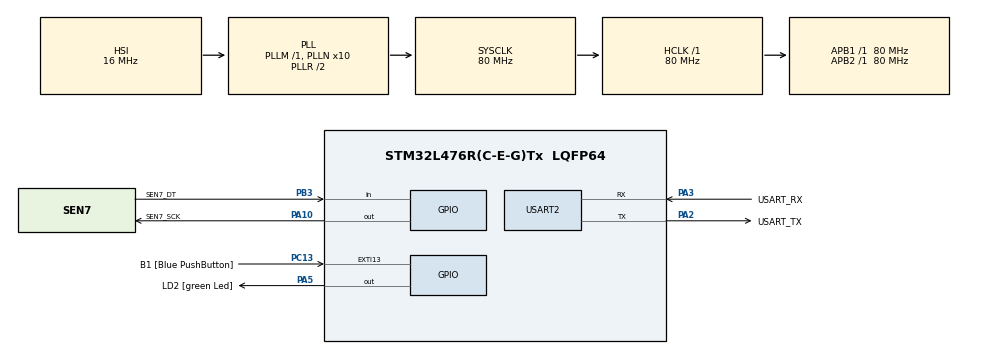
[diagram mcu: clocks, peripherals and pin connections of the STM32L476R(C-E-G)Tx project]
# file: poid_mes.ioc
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Mcu.Family=STM32L4
Mcu.Name=STM32L476R(C-E-G)Tx
Mcu.Package=LQFP64
NVIC.PriorityGroup=NVIC_PRIORITYGROUP_4
PA10.GPIO_Label=SEN7_SCK
PA10.Signal=GPIO_Output
PA13\ (JTMS-SWDIO).GPIO_Label=TMS
PA13\ (JTMS-SWDIO).Mode=Serial_Wire
PA13\ (JTMS-SWDIO).Signal=SYS_JTMS-SWDIO
PA14\ (JTCK-SWCLK).GPIO_Label=TCK
PA14\ (JTCK-SWCLK).Mode=Serial_Wire
PA14\ (JTCK-SWCLK).Signal=SYS_JTCK-SWCLK
PA2.GPIO_Label=USART_TX
PA2.GPIO_Mode=GPIO_MODE_AF_PP
PA2.GPIO_PuPd=GPIO_NOPULL
PA2.GPIO_Speed=GPIO_SPEED_FREQ_VERY_HIGH
PA2.Mode=Asynchronous
PA2.Signal=USART2_TX
PA3.GPIO_Label=USART_RX
PA3.GPIO_Mode=GPIO_MODE_AF_PP
PA3.GPIO_PuPd=GPIO_NOPULL
PA3.GPIO_Speed=GPIO_SPEED_FREQ_VERY_HIGH
PA3.Mode=Asynchronous
PA3.Signal=USART2_RX
PA5.GPIO_Label=LD2 [green Led]
PA5.GPIO_ModeDefaultOutputPP=GPIO_MODE_OUTPUT_PP
PA5.GPIO_PuPd=GPIO_NOPULL
PA5.GPIO_Speed=GPIO_SPEED_FREQ_LOW
PA5.Signal=GPIO_Output
PB3\ (JTDO-TRACESWO).GPIO_Label=SEN7_DT
PB3\ (JTDO-TRACESWO).Signal=GPIO_Input
PC13.GPIO_Label=B1 [Blue PushButton]
PC13.GPIO_ModeDefaultEXTI=GPIO_MODE_IT_FALLING
PC13.GPIO_PuPd=GPIO_NOPULL
PC13.Signal=GPXTI13
PC14-OSC32_IN\ (PC14).Mode=LSE-External-Oscillator
PC14-OSC32_IN\ (PC14).Signal=RCC_OSC32_IN
PC15-OSC32_OUT\ (PC15).Mode=LSE-External-Oscillator
PC15-OSC32_OUT\ (PC15).Signal=RCC_OSC32_OUT
PH0-OSC_IN\ (PH0).Signal=RCC_OSC_IN
PH1-OSC_OUT\ (PH1).Signal=RCC_OSC_OUT
ProjectManager.HeapSize=0x200
ProjectManager.StackSize=0x400
ProjectManager.TargetToolchain=STM32CubeIDE
RCC.ADCFreq_Value=64000000
RCC.AHBFreq_Value=80000000
RCC.APB1Freq_Value=80000000
RCC.APB1TimFreq_Value=80000000
RCC.APB2Freq_Value=80000000
RCC.APB2TimFreq_Value=80000000
RCC.CortexFreq_Value=80000000
RCC.HCLKFreq_Value=80000000
RCC.HSE_VALUE=8000000
RCC.HSI_VALUE=16000000
RCC.MSI_VALUE=4000000
RCC.PLLN=10
RCC.PLLSourceVirtual=RCC_PLLSOURCE_HSI
RCC.PREFETCH_ENABLE=1
RCC.SYSCLKFreq_VALUE=80000000
RCC.SYSCLKSource=RCC_SYSCLKSOURCE_PLLCLK
RCC.USBFreq_Value=64000000
RCC.VCOOutputFreq_Value=160000000
TIM1.Prescaler=80-1
USART2.VirtualMode-Asynchronous=VM_ASYNC
VP_TIM1_VS_ClockSourceINT.Mode=Internal
board=NUCLEO-L476RG

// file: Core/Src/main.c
/* USER CODE BEGIN Header */
/**
  ******************************************************************************
  * @file           : main.c
  * @brief          : Main program body
  ******************************************************************************
  * @attention
  *
  * Copyright (c) 2024 STMicroelectronics.
  * All rights reserved.
  *
  * This software is licensed under terms that can be found in the LICENSE file
  * in the root directory of this software component.
  * If no LICENSE file comes with this software, it is provided AS-IS.
  *
  ******************************************************************************
  */
/* USER CODE END Header */
#include "main.h"

/* USER CODE BEGIN Includes */
#include "lib_sen7.h"
/* USER CODE END Includes */

TIM_HandleTypeDef htim1;

UART_HandleTypeDef huart2;

void SystemClock_Config(void);
static void MX_GPIO_Init(void);
static void MX_USART2_UART_Init(void);
static void MX_TIM1_Init(void);

int main(void)
{

  /* USER CODE BEGIN 1 */
uint32_t zer;
  /* USER CODE END 1 */

  /* MCU Configuration--------------------------------------------------------*/

  /* Reset of all peripherals, Initializes the Flash interface and the Systick. */
  HAL_Init();

  /* Configure the system clock */
  SystemClock_Config();

  /* Initialize all configured peripherals */
  MX_GPIO_Init();
  MX_USART2_UART_Init();
  MX_TIM1_Init();
  /* USER CODE BEGIN 2 */

  HAL_UART_Transmit(&huart2, (uint8_t*)"INIT DONE\r\n", 11, 20);

  HAL_TIM_Base_Start(&htim1);

  SEN7_Init(&htim1, SEN7_SCK_GPIO_Port, SEN7_SCK_Pin, SEN7_DT_GPIO_Port, SEN7_DT_Pin, SEN7_GAIN_32);
  HAL_Delay(1000);

  zer=SEN7_Tare();

  HAL_UART_Transmit(&huart2, (uint8_t*)"Put a known weight of 5kg\r\n", 25, 20);
  HAL_Delay(5000);
  char msg[20];
  sprintf(msg, "cal>%f\r\n",SEN7_Calibrate(500));
  HAL_UART_Transmit(&huart2, (uint8_t*)msg, strlen(msg), 60);

  /* USER CODE END 2 */

  /* Infinite loop */
  /* USER CODE BEGIN WHILE */
  while (1)
  {

	  char msg1[20];
	  	  sprintf(msg1, "raw>%d\r\n",SEN7_GetRaw());
	  	  HAL_UART_Transmit(&huart2, (uint8_t*)msg1, strlen(msg1), 60);
HAL_Delay(300);
	  char msg[20];
	  sprintf(msg, "val>%0.3fKg\r\n",SEN7_GetWeight());
	  HAL_UART_Transmit(&huart2, (uint8_t*)msg, strlen(msg), 60);

	  HAL_UART_Transmit(&huart2, (uint8_t*)"next\r\n", 6, 20);
	  HAL_Delay(1000);
    /* USER CODE END WHILE */

  }
}

void SystemClock_Config(void)
{
  RCC_OscInitTypeDef RCC_OscInitStruct = {0};
  RCC_ClkInitTypeDef RCC_ClkInitStruct = {0};

  /** Configure the main internal regulator output voltage
  */
  if (HAL_PWREx_ControlVoltageScaling(PWR_REGULATOR_VOLTAGE_SCALE1) != HAL_OK)
  {
    Error_Handler();
  }

  /** Initializes the RCC Oscillators according to the specified parameters
  * in the RCC_OscInitTypeDef structure.
  */
  RCC_OscInitStruct.OscillatorType = RCC_OSCILLATORTYPE_HSI;
  RCC_OscInitStruct.HSIState = RCC_HSI_ON;
  RCC_OscInitStruct.HSICalibrationValue = RCC_HSICALIBRATION_DEFAULT;
  RCC_OscInitStruct.PLL.PLLState = RCC_PLL_ON;
  RCC_OscInitStruct.PLL.PLLSource = RCC_PLLSOURCE_HSI;
  RCC_OscInitStruct.PLL.PLLM = 1;
  RCC_OscInitStruct.PLL.PLLN = 10;
  RCC_OscInitStruct.PLL.PLLP = RCC_PLLP_DIV7;
  RCC_OscInitStruct.PLL.PLLQ = RCC_PLLQ_DIV2;
  RCC_OscInitStruct.PLL.PLLR = RCC_PLLR_DIV2;
  if (HAL_RCC_OscConfig(&RCC_OscInitStruct) != HAL_OK)
  {
    Error_Handler();
  }

  /** Initializes the CPU, AHB and APB buses clocks
  */
  RCC_ClkInitStruct.ClockType = RCC_CLOCKTYPE_HCLK|RCC_CLOCKTYPE_SYSCLK
                              |RCC_CLOCKTYPE_PCLK1|RCC_CLOCKTYPE_PCLK2;
  RCC_ClkInitStruct.SYSCLKSource = RCC_SYSCLKSOURCE_PLLCLK;
  RCC_ClkInitStruct.AHBCLKDivider = RCC_SYSCLK_DIV1;
  RCC_ClkInitStruct.APB1CLKDivider = RCC_HCLK_DIV1;
  RCC_ClkInitStruct.APB2CLKDivider = RCC_HCLK_DIV1;

  if (HAL_RCC_ClockConfig(&RCC_ClkInitStruct, FLASH_LATENCY_4) != HAL_OK)
  {
    Error_Handler();
  }
}

static void MX_TIM1_Init(void)
{

  TIM_ClockConfigTypeDef sClockSourceConfig = {0};
  TIM_MasterConfigTypeDef sMasterConfig = {0};

  htim1.Instance = TIM1;
  htim1.Init.Prescaler = 80-1;
  htim1.Init.CounterMode = TIM_COUNTERMODE_UP;
  htim1.Init.Period = 65535;
  htim1.Init.ClockDivision = TIM_CLOCKDIVISION_DIV1;
  htim1.Init.RepetitionCounter = 0;
  htim1.Init.AutoReloadPreload = TIM_AUTORELOAD_PRELOAD_DISABLE;
  if (HAL_TIM_Base_Init(&htim1) != HAL_OK)
  {
    Error_Handler();
  }
  sClockSourceConfig.ClockSource = TIM_CLOCKSOURCE_INTERNAL;
  if (HAL_TIM_ConfigClockSource(&htim1, &sClockSourceConfig) != HAL_OK)
  {
    Error_Handler();
  }
  sMasterConfig.MasterOutputTrigger = TIM_TRGO_RESET;
  sMasterConfig.MasterOutputTrigger2 = TIM_TRGO2_RESET;
  sMasterConfig.MasterSlaveMode = TIM_MASTERSLAVEMODE_DISABLE;
  if (HAL_TIMEx_MasterConfigSynchronization(&htim1, &sMasterConfig) != HAL_OK)
  {
    Error_Handler();
  }

}

static void MX_USART2_UART_Init(void)
{

  huart2.Instance = USART2;
  huart2.Init.BaudRate = 115200;
  huart2.Init.WordLength = UART_WORDLENGTH_8B;
  huart2.Init.StopBits = UART_STOPBITS_1;
  huart2.Init.Parity = UART_PARITY_NONE;
  huart2.Init.Mode = UART_MODE_TX_RX;
  huart2.Init.HwFlowCtl = UART_HWCONTROL_NONE;
  huart2.Init.OverSampling = UART_OVERSAMPLING_16;
  huart2.Init.OneBitSampling = UART_ONE_BIT_SAMPLE_DISABLE;
  huart2.AdvancedInit.AdvFeatureInit = UART_ADVFEATURE_NO_INIT;
  if (HAL_UART_Init(&huart2) != HAL_OK)
  {
    Error_Handler();
  }

}

static void MX_GPIO_Init(void)
{
  GPIO_InitTypeDef GPIO_InitStruct = {0};

  /* GPIO Ports Clock Enable */
  __HAL_RCC_GPIOC_CLK_ENABLE();
  __HAL_RCC_GPIOH_CLK_ENABLE();
  __HAL_RCC_GPIOA_CLK_ENABLE();
  __HAL_RCC_GPIOB_CLK_ENABLE();

  /*Configure GPIO pin Output Level */
  HAL_GPIO_WritePin(GPIOA, LD2_Pin|SEN7_SCK_Pin, GPIO_PIN_RESET);

  /*Configure GPIO pin : B1_Pin */
  GPIO_InitStruct.Pin = B1_Pin;
  GPIO_InitStruct.Mode = GPIO_MODE_IT_FALLING;
  GPIO_InitStruct.Pull = GPIO_NOPULL;
  HAL_GPIO_Init(B1_GPIO_Port, &GPIO_InitStruct);

  /*Configure GPIO pins : LD2_Pin SEN7_SCK_Pin */
  GPIO_InitStruct.Pin = LD2_Pin|SEN7_SCK_Pin;
  GPIO_InitStruct.Mode = GPIO_MODE_OUTPUT_PP;
  GPIO_InitStruct.Pull = GPIO_NOPULL;
  GPIO_InitStruct.Speed = GPIO_SPEED_FREQ_LOW;
  HAL_GPIO_Init(GPIOA, &GPIO_InitStruct);

  /*Configure GPIO pin : SEN7_DT_Pin */
  GPIO_InitStruct.Pin = SEN7_DT_Pin;
  GPIO_InitStruct.Mode = GPIO_MODE_INPUT;
  GPIO_InitStruct.Pull = GPIO_NOPULL;
  HAL_GPIO_Init(SEN7_DT_GPIO_Port, &GPIO_InitStruct);

}

void Error_Handler(void)
{
  __disable_irq();
  while (1)
  {
  }
}
